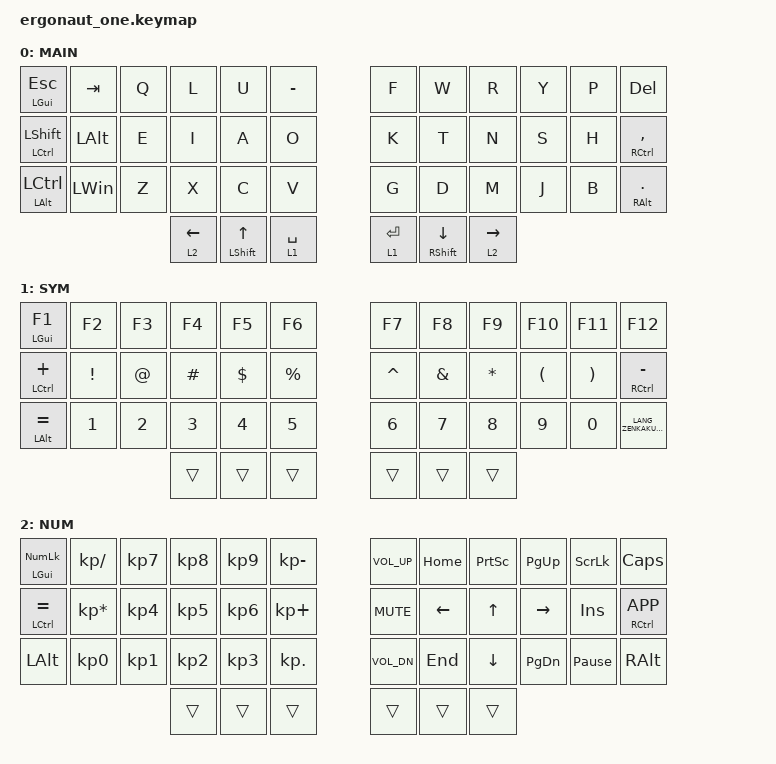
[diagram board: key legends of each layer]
#include <behaviors.dtsi>
#include <dt-bindings/zmk/keys.h>

#define DEF 0
#define LWR 1
#define RSE 2
#define ADJ 3

&lt { quick-tap-ms = <200>; };

&mt { quick-tap-ms = <200>; };

/ {
    conditional_layers {
        compatible = "zmk,conditional-layers";

        tri-layer {
            if-layers = <1 2>;
            then-layer = <3>;
        };
    };

    keymap {
        compatible = "zmk,keymap";

        default_layer {
            display-name = "MAIN";
            bindings = <
&mt LGUI ESC          &kp TAB       &kp Q  &kp L       &kp U         &kp MINUS    &kp F        &kp W           &kp R        &kp Y  &kp P  &kp DEL
&mt LCTRL LEFT_SHIFT  &kp LEFT_ALT  &kp E  &kp I       &kp A         &kp O        &kp K        &kp T           &kp N        &kp S  &kp H  &mt RCTRL COMMA
&mt LALT LCTRL        &kp LEFT_WIN  &kp Z  &kp X       &kp C         &kp V        &kp G        &kp D           &kp M        &kp J  &kp B  &mt RALT PERIOD
                                           &lt 2 LEFT  &mt LSHFT UP  &lt 1 SPACE  &lt 1 ENTER  &mt RSHFT DOWN  &lt 2 RIGHT
            >;
        };

        lower_layer {
            display-name = "SYM";
            bindings = <
&mt LGUI F1     &kp F2    &kp F3  &kp F4    &kp F5    &kp F6     &kp F7     &kp F8    &kp F9    &kp F10   &kp F11   &kp F12
&mt LCTRL PLUS  &kp EXCL  &kp AT  &kp HASH  &kp DLLR  &kp PRCNT  &kp CARET  &kp AMPS  &kp STAR  &kp LPAR  &kp RPAR  &mt RCTRL MINUS
&mt LALT EQUAL  &kp N1    &kp N2  &kp N3    &kp N4    &kp N5     &kp N6     &kp N7    &kp N8    &kp N9    &kp N0    &kp LANG_ZENKAKUHANKAKU
                                  &trans    &trans    &trans     &trans     &trans    &trans
            >;
        };

        raise_layer {
            display-name = "NUM";
            bindings = <
&mt LGUI KP_NUM  &kp KP_SLASH     &kp KP_N7  &kp KP_N8  &kp KP_N9  &kp KP_MINUS  &kp C_VOL_UP  &kp HOME  &kp PSCRN  &kp PG_UP  &kp SLCK         &kp CLCK
&mt LCTRL EQUAL  &kp KP_MULTIPLY  &kp KP_N4  &kp KP_N5  &kp KP_N6  &kp KP_PLUS   &kp C_MUTE    &kp LEFT  &kp UP     &kp RIGHT  &kp INS          &mt RCTRL K_APP
&kp LALT         &kp KP_N0        &kp KP_N1  &kp KP_N2  &kp KP_N3  &kp KP_DOT    &kp C_VOL_DN  &kp END   &kp DOWN   &kp PG_DN  &kp PAUSE_BREAK  &kp RALT
                                             &trans     &trans     &trans        &trans        &trans    &trans
            >;
        };
    };
};
